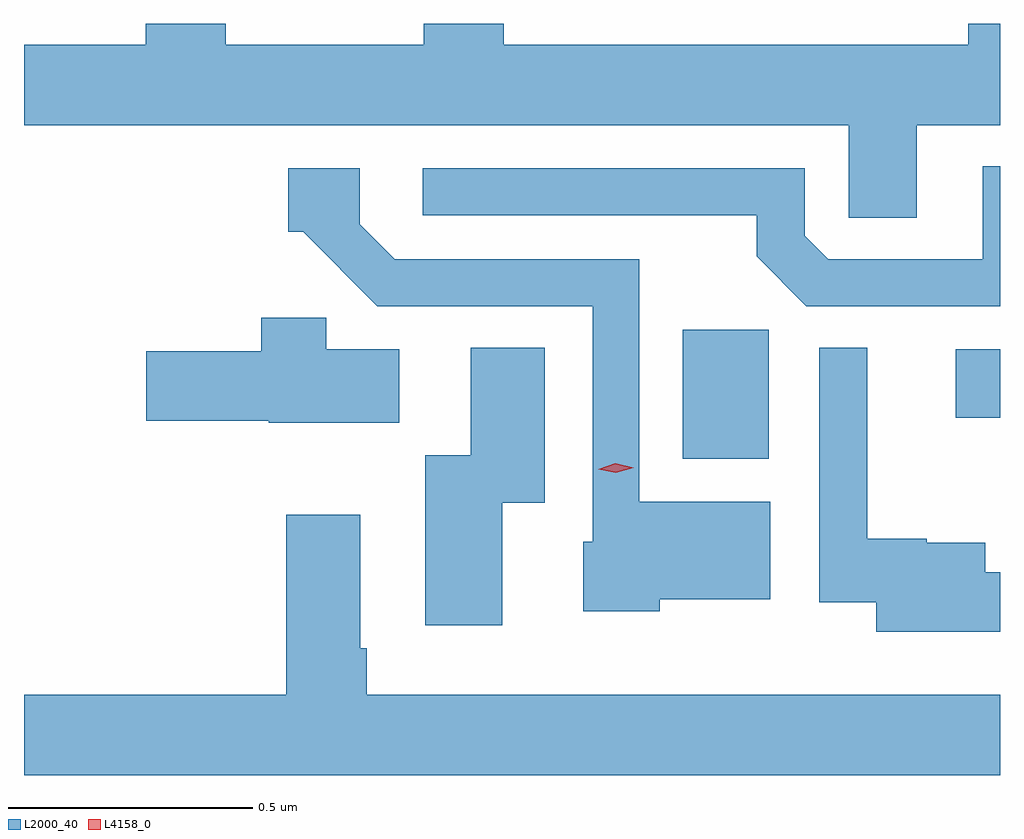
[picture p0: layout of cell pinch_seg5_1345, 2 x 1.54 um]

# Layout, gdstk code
import gdstk
lib = gdstk.Library(unit=1e-6, precision=1e-09)
def R(c, l, rs):  # rectangles x0, y0, x1, y1
    for r in rs: c.add(gdstk.rectangle(r[:2], r[2:], *l))
def P(c, l, *ps):  # polygons
    for p in ps: c.add(gdstk.Polygon(p, *l))
L2000_40 = (2000, 40)
L4158_0 = (4158, 0)

pinch_seg5_1345 = lib.new_cell('pinch_seg5_1345')
R(pinch_seg5_1345, L2000_40, [(408.638,850.748,408.814,851.012), (409.197,850.832,409.288,850.972)])
P(pinch_seg5_1345, L2000_40, [(409.117,851.432),(409.288,851.432),(409.288,851.639),(409.223,851.639),(409.223,851.596),(408.271,851.596),(408.271,851.639),(408.107,851.639),(408.107,851.596),(407.701,851.596),(407.701,851.639),(407.537,851.639),(407.537,851.596),(407.288,851.596),(407.288,851.432),(408.978,851.432),(408.978,851.242),(409.117,851.242)],
  [(409.288,851.347),(409.253,851.347),(409.253,851.157),(408.936,851.157),(408.888,851.205),(408.888,851.343),(408.105,851.343),(408.105,851.247),(408.79,851.247),(408.79,851.163),(408.891,851.061),(409.288,851.061)],
  [(408.591,850.46),(408.817,850.46),(408.817,850.66),(408.549,850.66),(408.549,851.157),(408.048,851.157),(407.976,851.229),(407.976,851.343),(407.829,851.343),(407.829,851.213),(407.86,851.213),(408.012,851.061),(408.453,851.061),(408.453,850.578),(408.434,850.578),(408.434,850.436),(408.591,850.436)],
  [(408.057,850.972),(407.907,850.972),(407.907,851.037),(407.774,851.037),(407.774,850.968),(407.538,850.968),(407.538,850.826),(407.79,850.826),(407.79,850.822),(408.057,850.822)],
  [(409.288,850.516),(409.258,850.516),(409.258,850.576),(409.138,850.576),(409.138,850.584),(409.016,850.584),(409.016,850.976),(408.918,850.976),(408.918,850.454),(409.034,850.454),(409.034,850.394),(409.288,850.394)],
  [(408.268,850.658),(408.355,850.658),(408.355,850.976),(408.203,850.976),(408.203,850.755),(408.11,850.755),(408.11,850.407),(408.268,850.407)],
  [(409.288,850.264),(407.99,850.264),(407.99,850.36),(407.977,850.36),(407.977,850.633),(407.825,850.633),(407.825,850.264),(407.288,850.264),(407.288,850.1),(409.288,850.1)])
P(pinch_seg5_1345, L4158_0, [(408.501,850.719),(408.465,850.727),(408.464,850.727),(408.465,850.727),(408.5,850.739),(408.537,850.73),(408.537,850.73),(408.537,850.73)])

lib.write_gds('pinch_seg5_1345.gds')
